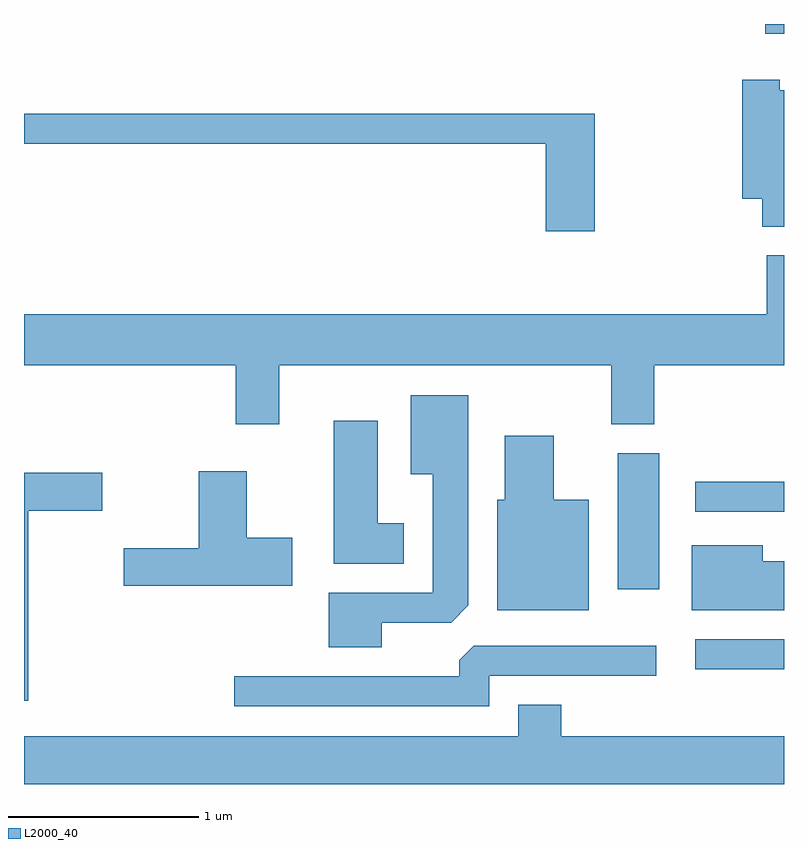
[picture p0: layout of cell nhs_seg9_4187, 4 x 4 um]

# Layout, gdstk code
import gdstk
lib = gdstk.Library(unit=1e-6, precision=1e-09)
def R(c, l, rs):  # rectangles x0, y0, x1, y1
    for r in rs: c.add(gdstk.rectangle(r[:2], r[2:], *l))
def P(c, l, *ps):  # polygons
    for p in ps: c.add(gdstk.Polygon(p, *l))
L2000_40 = (2000, 40)

nhs_seg9_4187 = lib.new_cell('nhs_seg9_4187')
R(nhs_seg9_4187, L2000_40, [(311.143,2059.036,311.611,2059.194), (310.736,2059.456,310.954,2060.174), (311.143,2059.866,311.611,2060.024), (311.513,2062.381,311.611,2062.432)])
P(nhs_seg9_4187, L2000_40, [(311.611,2062.084),(311.589,2062.084),(311.589,2062.139),(311.391,2062.139),(311.391,2061.511),(311.496,2061.511),(311.496,2061.366),(311.611,2061.366)],
  [(310.614,2061.959),(307.611,2061.959),(307.611,2061.801),(310.356,2061.801),(310.356,2061.341),(310.614,2061.341)],
  [(308.954,2060.636),(310.701,2060.636),(310.701,2060.326),(310.929,2060.326),(310.929,2060.636),(311.611,2060.636),(311.611,2061.214),(311.521,2061.214),(311.521,2060.904),(307.611,2060.904),(307.611,2060.636),(308.726,2060.636),(308.726,2060.326),(308.954,2060.326)],
  [(309.494,2059.281),(309.859,2059.281),(309.949,2059.372),(309.949,2060.479),(309.646,2060.479),(309.646,2060.061),(309.761,2060.061),(309.761,2059.439),(309.216,2059.439),(309.216,2059.151),(309.494,2059.151)],
  [(309.609,2059.804),(309.474,2059.804),(309.474,2060.344),(309.241,2060.344),(309.241,2059.591),(309.609,2059.591)],
  [(310.584,2059.929),(310.399,2059.929),(310.399,2060.264),(310.141,2060.264),(310.141,2059.929),(310.101,2059.929),(310.101,2059.346),(310.584,2059.346)],
  [(309.024,2059.729),(308.784,2059.729),(308.784,2060.079),(308.531,2060.079),(308.531,2059.674),(308.136,2059.674),(308.136,2059.476),(309.024,2059.476)],
  [(307.634,2059.871),(308.024,2059.871),(308.024,2060.069),(307.611,2060.069),(307.611,2058.871),(307.634,2058.871)],
  [(311.611,2059.604),(311.499,2059.604),(311.499,2059.689),(311.126,2059.689),(311.126,2059.346),(311.611,2059.346)],
  [(310.059,2059.001),(310.938,2059.001),(310.938,2059.159),(309.977,2059.159),(309.901,2059.084),(309.901,2058.999),(308.718,2058.999),(308.718,2058.841),(310.059,2058.841)],
  [(311.611,2058.684),(310.439,2058.684),(310.439,2058.849),(310.211,2058.849),(310.211,2058.684),(307.611,2058.684),(307.611,2058.432),(311.611,2058.432)])

lib.write_gds('nhs_seg9_4187.gds')
